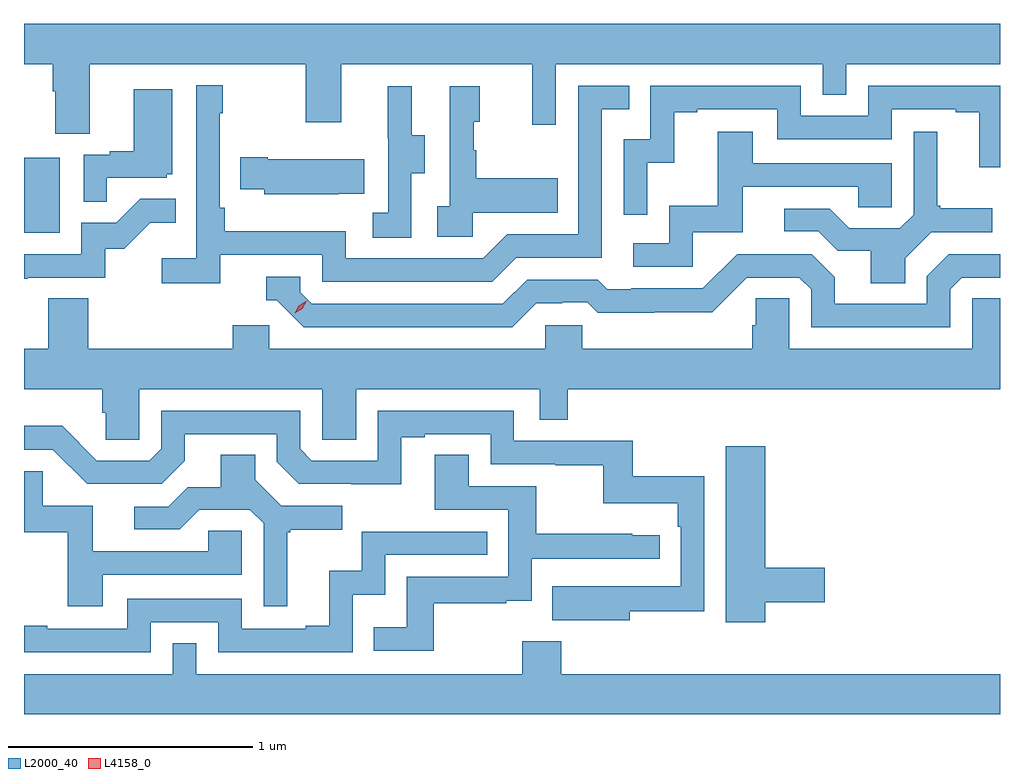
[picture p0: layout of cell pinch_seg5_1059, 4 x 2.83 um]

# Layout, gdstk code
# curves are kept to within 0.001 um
import gdstk
lib = gdstk.Library(unit=1e-6, precision=1e-09)
def R(c, l, rs):  # rectangles x0, y0, x1, y1
    for r in rs: c.add(gdstk.rectangle(r[:2], r[2:], *l))
def P(c, l, *ps):  # polygons
    for p in ps: c.add(gdstk.Polygon(p, *l))
L2000_40 = (2000, 40)
L4158_0 = (4158, 0)

pinch_seg5_1059 = lib.new_cell('pinch_seg5_1059')
R(pinch_seg5_1059, L2000_40, [(863.306,869.388,863.452,869.695)])
P(pinch_seg5_1059, L2000_40, [(863.575,870.08),(864.46,870.08),(864.46,869.841),(864.607,869.841),(864.607,870.08),(865.388,870.08),(865.388,869.832),(865.485,869.832),(865.485,870.08),(866.58,870.08),(866.58,869.953),(866.676,869.953),(866.676,870.08),(867.306,870.08),(867.306,870.244),(863.306,870.244),(863.306,870.08),(863.423,870.08),(863.423,869.968),(863.435,869.968),(863.435,869.794),(863.575,869.794)],
  [(864.11,869.298),(864.528,869.298),(864.528,869.187),(865.225,869.187),(865.324,869.286),(865.674,869.286),(865.674,869.895),(865.787,869.895),(865.787,869.991),(865.578,869.991),(865.578,869.382),(865.287,869.382),(865.188,869.283),(864.624,869.283),(864.624,869.395),(864.128,869.395),(864.128,869.491),(864.108,869.491),(864.108,869.879),(864.121,869.879),(864.121,869.992),(864.012,869.992),(864.012,869.284),(863.871,869.284),(863.871,869.182),(864.11,869.182)],
  [(865.86,869.675),(865.97,869.675),(865.97,869.883),(866.065,869.883),(866.065,869.895),(866.394,869.895),(866.394,869.772),(866.862,869.772),(866.862,869.895),(867.125,869.895),(867.125,869.883),(867.221,869.883),(867.221,869.657),(867.306,869.657),(867.306,869.991),(866.766,869.991),(866.766,869.868),(866.49,869.868),(866.49,869.991),(865.872,869.991),(865.872,869.772),(865.764,869.772),(865.764,869.463),(865.86,869.463)],
  [(865.146,869.471),(865.493,869.471),(865.493,869.611),(865.159,869.611),(865.159,869.726),(865.149,869.726),(865.149,869.844),(865.174,869.844),(865.174,869.989),(865.05,869.989),(865.05,869.498),(864.999,869.498),(864.999,869.373),(865.146,869.373)],
  [(864.894,869.632),(864.949,869.632),(864.949,869.787),(864.895,869.787),(864.895,869.989),(864.797,869.989),(864.797,869.775),(864.798,869.775),(864.798,869.471),(864.735,869.471),(864.735,869.368),(864.894,869.368)],
  [(863.645,869.613),(863.892,869.613),(863.892,869.628),(863.914,869.628),(863.914,869.977),(863.756,869.977),(863.756,869.722),(863.657,869.722),(863.657,869.709),(863.55,869.709),(863.55,869.515),(863.645,869.515)],
  [(866.046,869.391),(866.251,869.391),(866.251,869.577),(866.725,869.577),(866.725,869.493),(866.862,869.493),(866.862,869.673),(866.293,869.673),(866.293,869.803),(866.149,869.803),(866.149,869.5),(865.95,869.5),(865.95,869.346),(865.803,869.346),(865.803,869.25),(866.046,869.25)],
  [(866.917,869.284),(867.024,869.391),(867.274,869.391),(867.274,869.488),(867.061,869.488),(867.061,869.5),(867.049,869.5),(867.049,869.803),(866.952,869.803),(866.952,869.463),(866.895,869.406),(866.689,869.406),(866.608,869.487),(866.421,869.487),(866.421,869.394),(866.562,869.394),(866.642,869.314),(866.777,869.314),(866.777,869.182),(866.917,869.182)],
  [(864.593,869.549),(864.701,869.549),(864.701,869.689),(864.304,869.689),(864.304,869.697),(864.193,869.697),(864.193,869.567),(864.291,869.567),(864.291,869.546),(864.593,869.546)],
  [(863.321,869.205),(863.64,869.205),(863.64,869.322),(863.716,869.322),(863.823,869.429),(863.927,869.429),(863.927,869.528),(863.783,869.528),(863.685,869.43),(863.541,869.43),(863.541,869.301),(863.306,869.301),(863.306,869.2),(863.321,869.2)],
  [(865.405,869.1),(865.512,869.1),(865.512,869.103),(865.615,869.103),(865.657,869.061),(865.89,869.061),(865.89,869.063),(866.126,869.063),(866.268,869.205),(866.484,869.205),(866.532,869.157),(866.532,869.001),(867.102,869.001),(867.102,869.157),(867.15,869.205),(867.306,869.205),(867.306,869.301),(867.096,869.301),(867.006,869.211),(867.006,869.097),(866.629,869.097),(866.629,869.207),(866.535,869.301),(866.229,869.301),(866.088,869.16),(865.795,869.16),(865.795,869.157),(865.696,869.157),(865.657,869.196),(865.368,869.196),(865.269,869.097),(864.486,869.097),(864.438,869.145),(864.438,869.208),(864.299,869.208),(864.299,869.112),(864.342,869.112),(864.453,869.001),(865.306,869.001)],
  [(863.778,868.748),(864.528,868.748),(864.528,868.54),(864.667,868.54),(864.667,868.748),(865.419,868.748),(865.419,868.621),(865.535,868.621),(865.535,868.748),(867.306,868.748),(867.306,869.12),(867.192,869.12),(867.192,868.912),(866.442,868.912),(866.442,869.12),(866.305,869.12),(866.305,869.01),(866.291,869.01),(866.291,868.912),(865.593,868.912),(865.593,869.01),(865.443,869.01),(865.443,868.912),(864.312,868.912),(864.312,869.01),(864.161,869.01),(864.161,868.912),(863.57,868.912),(863.57,869.12),(863.405,869.12),(863.405,868.912),(863.306,868.912),(863.306,868.748),(863.627,868.748),(863.627,868.65),(863.641,868.65),(863.641,868.54),(863.778,868.54)],
  [(865.789,867.838),(866.094,867.838),(866.094,868.39),(865.801,868.39),(865.801,868.536),(865.314,868.536),(865.314,868.659),(864.756,868.659),(864.756,868.455),(864.486,868.455),(864.438,868.503),(864.438,868.659),(863.868,868.659),(863.868,868.503),(863.82,868.455),(863.604,868.455),(863.462,868.597),(863.306,868.597),(863.306,868.5),(863.424,868.5),(863.565,868.359),(863.871,868.359),(863.965,868.453),(863.965,868.563),(864.342,868.563),(864.342,868.449),(864.432,868.359),(864.853,868.358),(864.853,868.551),(864.949,868.551),(864.949,868.563),(865.218,868.563),(865.218,868.44),(865.483,868.44),(865.483,868.435),(865.68,868.435),(865.68,868.28),(865.985,868.28),(865.985,868.184),(865.998,868.184),(865.998,867.939),(865.471,867.94),(865.471,867.8),(865.789,867.8)],
  [(866.344,867.874),(866.587,867.874),(866.587,868.016),(866.344,868.016),(866.344,868.513),(866.183,868.513),(866.183,867.792),(866.344,867.792)],
  [(864.985,867.87),(865.283,867.87),(865.283,867.881),(865.386,867.881),(865.386,868.053),(865.912,868.053),(865.912,868.149),(865.799,868.149),(865.799,868.154),(865.406,868.154),(865.406,868.35),(865.129,868.35),(865.129,868.478),(864.989,868.478),(864.989,868.254),(865.29,868.254),(865.29,867.978),(864.874,867.978),(864.874,867.772),(864.739,867.772),(864.739,867.675),(864.985,867.675)],
  [(864.385,868.161),(864.397,868.161),(864.397,868.172),(864.61,868.172),(864.61,868.269),(864.36,868.269),(864.253,868.376),(864.253,868.478),(864.113,868.478),(864.113,868.346),(863.978,868.346),(863.898,868.266),(863.757,868.266),(863.757,868.173),(863.944,868.173),(864.025,868.254),(864.231,868.254),(864.288,868.197),(864.288,867.858),(864.385,867.858)],
  [(863.629,867.987),(864.198,867.987),(864.198,868.167),(864.061,868.167),(864.061,868.083),(863.587,868.083),(863.587,868.269),(863.382,868.269),(863.382,868.41),(863.306,868.41),(863.306,868.161),(863.485,868.161),(863.485,867.858),(863.629,867.858)],
  [(863.826,867.792),(864.102,867.792),(864.102,867.669),(864.654,867.669),(864.654,867.905),(864.786,867.905),(864.786,868.068),(865.205,868.068),(865.205,868.164),(864.69,868.164),(864.69,868.003),(864.557,868.003),(864.557,867.778),(864.461,867.778),(864.461,867.765),(864.198,867.765),(864.198,867.888),(863.73,867.888),(863.73,867.765),(863.401,867.765),(863.401,867.778),(863.306,867.778),(863.306,867.669),(863.826,867.669)],
  [(867.306,867.58),(865.508,867.58),(865.508,867.715),(865.348,867.715),(865.348,867.58),(864.012,867.58),(864.012,867.707),(863.916,867.707),(863.916,867.58),(863.306,867.58),(863.306,867.416),(867.306,867.416)])
P(pinch_seg5_1059, L4158_0, [(864.416,869.058),(864.416,869.058),(864.433,869.09),(864.464,869.11),(864.464,869.11),(864.464,869.109),(864.447,869.077),(864.416,869.058)])

lib.write_gds('pinch_seg5_1059.gds')
